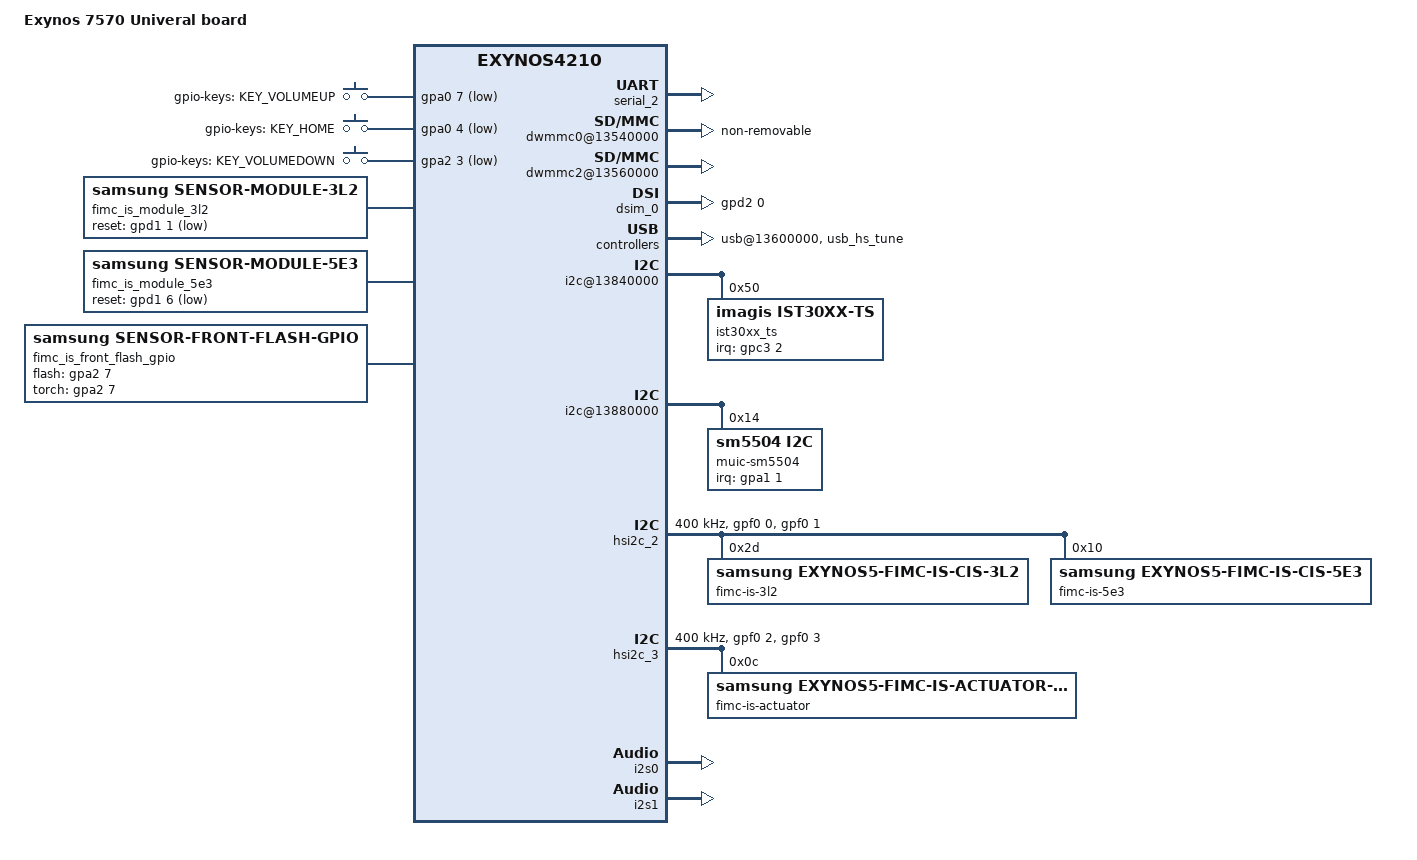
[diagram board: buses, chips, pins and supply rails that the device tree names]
/*
 * SAMSUNG UNIVERSAL7570 board device tree source
 *
 * Copyright (c) 2013 Samsung Electronics Co., Ltd.
 *		http://www.samsung.com
 *
 * This program is free software; you can redistribute it and/or modify
 * it under the terms of the GNU General Public License version 2 as
 * published by the Free Software Foundation.
*/

/dts-v1/;
#include "exynos7570-rmem.dtsi"
#include "exynos7570-rev01.dtsi"
#include "modem-ss305ap-pdata.dtsi"

/ {
	model = "Exynos 7570 Univeral board";
	compatible = "samsung,exynos7570", "samsung,exynos4210";

	memory@40000000 {
		device_type = "memory";
		reg = <0x0 0x40000000 0x60000000>;
	};

	chosen {
		bootargs = "console=ram clk_ignore_unused androidboot.hardware=samsungexynos7570 androidboot.selinux=permissive firmware_class.path=/vendor/firmware ess_setup=0x46000000 bcm_setup=0xffffff80f8e00000 androidboot.debug_level=0x4948 reserve-fimc=0";
		linux,initrd-start = <0x42000000>;
		linux,initrd-end = <0x421FFFFF>;
	};

	fixed-rate-clocks {
		oscclk {
			compatible = "samsung,exynos7570-oscclk";
			clock-frequency = <26000000>;
		};
	};

	serial_2: uart@13820000 {
		status = "okay";
	};

	firmware {
		android {
			compatible = "android,firmware";
			fstab {
				compatible = "android,fstab";
				system {
					compatible = "android,system";
					dev = "/dev/block/platform/13540000.dwmmc0/by-name/system";
					type = "ext4";
					mnt_flags = "ro";
					fsmgr_flags = "wait";
				};
				vendor {
					compatible = "android,vendor";
					dev = "/dev/block/platform/13540000.dwmmc0/by-name/vendor";
					type = "ext4";
					mnt_flags = "ro";
					fsmgr_flags = "wait";
				};
			};
		};
	};

	dwmmc0@13540000 {
		status = "okay";
		num-slots = <1>;
		broken-card-detect;
		use-smu;
		fixed_voltage;
		supports-highspeed;
		clock-gate;
		mmc-ddr-1_8v;
		mmc-hs200-1_8v;
		mmc-hs400-1_8v;
		supports-8bit;
		supports-cmd23;
		supports-erase;
		enable-ulp-mode;
		supports-hs400-enhanced-strobe;
		card-init-hwacg-ctrl;
		fifo-depth = <0x40>;
		non-removable;
		desc-size = <4>;
		card-detect-delay = <200>;
		data-timeout = <200>;
		hto-timeout = <550>;
		clock-frequency = <700000000>;
		samsung,dw-mshc-ciu-div = <3>;
		samsung,dw-mshc-txdt-crc-timer-fastlimit = <0x34>;
		samsung,dw-mshc-txdt-crc-timer-initval = <0x38>;
		samsung,dw-mshc-ddr200-delay-line = <0x60>;
		samsung,dw-mshc-sdr-timing = <3 0 2 0>;
		samsung,dw-mshc-ddr-timing = <3 0 4 2>;
		samsung,dw-mshc-hs200-timing = <3 0 3 0>;
		samsung,dw-mshc-ddr200-timing = <1 0 4 0>;
		samsung,dw-mshc-ddr200-ulp-timing = <3 0 3 0>;

		num-ref-clks = <12>;
		ciu_clkin = <25 43 43 25 43 87 175 43 43 175 175 175>;

		/* Swapping clock drive strength */
		clk-drive-number = <4>;
		pinctrl-names = "default",
			"fast-slew-rate-1x",
			"fast-slew-rate-2x",
			"fast-slew-rate-3x",
			"fast-slew-rate-4x";
		pinctrl-0 = <&sd0_clk &sd0_cmd &sd0_rdqs &sd0_bus1 &sd0_bus4 &sd0_bus8>;
		pinctrl-1 = <&sd0_clk_fast_slew_rate_1x>;
		pinctrl-2 = <&sd0_clk_fast_slew_rate_2x>;
		pinctrl-3 = <&sd0_clk_fast_slew_rate_3x>;
		pinctrl-4 = <&sd0_clk_fast_slew_rate_4x>;
		slot@0 {
			reg = <0>;
			bus-width = <8>;
		};
	};

	dwmmc2@13560000 {
		status = "okay";
		num-slots = <1>;
		clock-gate;
		supports-highspeed;
		supports-4bit;
		supports-cmd23;
		supports-erase;
		sd-uhs-sdr50;
		sd-uhs-sdr104;
		card-detect-gpio;
		bypass-smu;
		only_once_tune;
		bypass-for-allpass;
		use-fine-tuning;
		skip-init-mmc-scan;
		card-init-hwacg-ctrl;
		switch_transfer;
		ignore-phase = <(1 << 7)>;
		fifo-depth = <0x40>;
		desc-size = <4>;
		card-detect-delay = <200>;
		data-timeout = <200>;
		hto-timeout = <550>;
		clock-frequency = <700000000>;
		samsung,dw-mshc-ciu-div = <3>;
		samsung,dw-mshc-sdr-timing = <3 0 2 0>;
		samsung,dw-mshc-ddr-timing = <3 0 2 1>;
		samsung,dw-mshc-sdr50-timing = <3 0 4 2>;
		samsung,dw-mshc-sdr104-timing = <3 0 3 0>;

		num-ref-clks = <9>;
		ciu_clkin = <25 43 43 25 43 87 175 43 43>;

		clk-drive-number = <4>;
		pinctrl-names = "default",
			"fast-slew-rate-1x",
			"fast-slew-rate-2x",
			"fast-slew-rate-3x",
			"fast-slew-rate-4x";
		pinctrl-0 = <&sd2_clk &sd2_cmd &sd2_bus1 &sd2_bus4 &dwmmc2_cd_ext_irq>;
		pinctrl-1 = <&sd2_clk_fast_slew_rate_1x>;
		pinctrl-2 = <&sd2_clk_fast_slew_rate_2x>;
		pinctrl-3 = <&sd2_clk_fast_slew_rate_3x>;
		pinctrl-4 = <&sd2_clk_fast_slew_rate_4x>;

		card-detect = <&gpa0 1 0xf>;
		slot@0 {
			reg = <0>;
			bus-width = <4>;
			disable-wp;
		};
	};

	ion {
		compatible = "samsung,exynos5430-ion";
	};

	decon_fb@14830000 {
		psr_mode = <0>; /* 0: video mode, 1: DP command mode, 2: MIPI command mode */
		/* vclk_mif = 166MHz */
		mif-vclk = <166000000>;
		/* vclk =  83MHz */
		disp-vclk = <83000000>;
		/* aclk = 208MHz */
		disp-dvfs = <208000000>;
	};

	dsim_0: dsim@14800000 {
		lcd_info = <&s6e8aa5x01>;
		/*lcd reset */
		gpios = <&gpd2 0 0x1>;
		status = "okay";
	};

	s6e8aa5x01: s6e8aa5x01_hd {
		mode = <0>; /* 0: video mode, 1: DP command mode, 2: MIPI command mode */
		/* HD(720 x 1280) */
		panel_name = "s6e8aa5x01";
		resolution = <720 1280>;
		dispif_resol = <720 1280>;
		size = <71 114>;
		timing,refresh = <60>;
		/* dsim H porch : hbp, hfp, hsa */
		timing,dsim_h-porch = <109 48 1>;
		/* dsim V porch : VBP, VFP, VSA */
		timing,dsim_v-porch = <8 14 2>;
		/* decon H porch : hbp, hfp, hsa */
		timing,decon_h-porch = <1 339 1>;
		/* decon V porch : VBP, VFP, VSA */
		timing,decon_v-porch = <8 14 2>;
		timing,dsi-hs-clk = <498>;
		timing,pms = <3 230 2>;
		timing,dsi-escape-clk = <20>;
	};

	usb@13600000 {
		status = "okay";

		dwc3 {
			dr_mode = "otg";
		};
	};

	usbphy@135c0000 {
		status = "okay";
		hs_tune_info = <&usb_hs_tune>;
		ss_tune_info = <&usb_ss_tune>;
	};

	usb_hs_tune:hs_tune {
		status = "okay";
		/* value = <device host> */
		tx_vref = <0x3 0x3>;
		tx_pre_emp = <0x0 0x0>;
		tx_pre_emp_puls = <0x0 0x0>;
		tx_res	= <0x2 0x2>;
		tx_rise = <0x1 0x1>;
		tx_hsxv = <0x0 0x0>;
		tx_fsls = <0x3 0x3>;
		rx_sqrx = <0x5 0x5>;
		compdis	= <0x3 0x3>;
		otg= <0x2 0x2>;
		/* true : 1, false: 0 */
		/* <enable_user_imp user_imp_value> */
		enable_user_imp = <0 0>;
		/* PHY clk : 1 , FREE clk : 0 */
		is_phyclock = <1>;
	};

	usb_ss_tune:ss_tune {
		status = "disabled";
		/* value = <device host> */
		tx_boost_level = <0x4 0x4>;
		tx_swing_level = <0x1 0x1>;
		tx_swing_full = <0x7F 0x7F>;
		tx_swing_low = <0x7F 0x7F>;
		tx_deemphasis_mode = <0x1 0x1>;
		tx_deemphasis_3p5db = <0x18 0x18>;
		tx_deemphasis_6db = <0x18 0x18>;
		enable_ssc = <0x1 0x1>;
		ssc_range = <0x0 0x1>;
		los_bias = <0x5 0x5>;
		los_mask_val = <0x104 0x104>;
		enable_fixed_rxeq_mode = <0x0 0x0>;
		fix_rxeq_value = <0x4 0x4>;
		set_crport_mpll_charge_pump = <0x0 0x0>;
		set_crport_level_en = <0x0 0x0>;
	};

	usb_notifier {
		compatible = "samsung,usb-notifier";
		udc = <&udc>;
	};

	battery {
		battery,charger_name = "sec-charger";
		battery,fuelgauge_name = "sec-fuelgauge";
		battery,chg_eoc_dualpath = <1>;

		battery,input_current_limit = <1800 0 0 1000 460 900 1000 460 1000 0 820 1900 1000 0 0 400 700 1300 300 1000 1500 0 1667 1000 80 1800>;
		battery,fast_charging_current = <2100 0 0 1800 460 1200 1000 460 1200 0 1000 1600 1000 0 0 400 700 1300 300 1000 1500 0 3150 1000 80 1800>;
		battery,full_check_current_1st = <350 0 0 250 250 250 250 250 250 0 250 250 250 0 0 350 350 350 350 350 350 0 350 350 0 350>;
		battery,full_check_current_2nd = <3000 0 0 3000 3000 3000 3000 3000 3000 0 3000 3000 0 0 0 3000 3000 3000 3000 3000 3000 0 3000 3000 3000 3000>;
		battery,input_current_limit_new = <1800 0 0 1000 460 900 1000 460 1000 0 820 1900 1000 0 0 400 700 1300 300 1000 1500 0 1667 1000 80 1800>;
		battery,fast_charging_current_new = <2100 0 0 1700 460 1200 1000 460 1200 0 1000 1600 1000 0 0 400 700 1300 300 1000 1500 0 3150 1000 80 1800>;
		battery,recharge_condition_vcell = <4250>;
	};

	s2mpu06-charger {
		battery,chg_float_voltage = <4340>;
	};

	s2mpu06-fuelgauge {
		fuelgauge,fuel_alert_soc = <1>;
		fuelgauge,capacity_max = <1000>;
		fuelgauge,capacity_max_margin = <70>;
		fuelgauge,capacity_min = <0>;
		fuelgauge,capacity_calculation_type = <28>;
		fuelgauge,type_str = "SDI";
		fuelgauge,model_type = <1>;
	};

	tmuctrl_0: tmuctrl_CPUCL0@10130000 {
		compatible = "samsung,exynos7570-tmu";
		reg = <0x0 0x10130000 0x200>;
		interrupts = <0 435 0>;
		default_ptat_cont = <0x1>;
	};

	tmuctrl_1: tmuctrl_G3D@10130000 {
		compatible = "samsung,exynos7570-tmu";
		reg = <0x0 0x10130000 0x200>;
		interrupts = <0 435 0>;
		default_ptat_cont = <0x1>;

		/* gpu cooling related table */
		gpu_idx_num = <5>;
		/* flags, driver_data(index), frequency */
		gpu_cooling_table = < 0 0 830000
				      0 1 666000
				      0 2 553000
				      0 3 415000
				      0 4 TABLE_END>;
	};

	pinctrl@139F0000 {
		key_volup: key-volup {
			samsung,pins = "gpa0-7";
			samsung,pin-function = <0xf>;
			samsung,pin-pud = <3>;
			samsung,pin-drv = <0>;
		};

		key_voldown: key-voldown {
			samsung,pins = "gpa2-3";
			samsung,pin-function = <0xf>;
			samsung,pin-pud = <0>;
			samsung,pin-drv = <0>;
		};

		key_home: key-home {
			samsung,pins = "gpa0-4";
			samsung,pin-function = <0xf>;
			samsung,pin-pud = <0>;
			samsung,pin-drv = <0>;
		};

		if_irq: if-irq {
			samsung,pins = "gpa0-5";
			samsung,pin-pud = <3>;
			samsung,pin-drv = <3>;
		};

		muic_irq: muic-irq {
			samsung,pins = "gpa1-1";
			samsung,pin-pud = <3>;
			samsung,pin-drv = <0>;
		};
	};

	gpio_keys {
		compatible = "gpio-keys";
		pinctrl-names = "default";
		pinctrl-0 = <&key_voldown &key_volup &key_home>;
		#address-cells = <1>;
		#size-cells = <0>;

		button@1 {
			label = "gpio-keys: KEY_VOLUMEUP";
			interrupts = <7 0 0>;
			interrupt-parent = <&gpa0>;
			linux,code = <115>;
			gpios = <&gpa0 7 0xf>;
		};
		button@2 {
			label = "gpio-keys: KEY_HOME";
			interrupts = <4 0 0>;
			interrupt-parent = <&gpa0>;
			linux,code = <172>;
			gpios = <&gpa0 4 0xf>;
			gpio-key,wakeup = <1>;
		};
		button@3 {
			label = "gpio-keys: KEY_VOLUMEDOWN";
			interrupts = <3 0 0>;
			interrupt-parent = <&gpa2>;
			linux,code = <114>;
			gpios = <&gpa2 3 0xf>;
		};
	};

	pinctrl@139D0000 {
		attn_irq: attn-irq {
			samsung,pins = "gpc3-2";
			samsung,pin-function = <0xf>;
			samsung,pin-pud = <0>;
			samsung,pin-drv = <0>;
		};
		attn_input: attn-input {
			samsung,pins = "gpc3-2";
			samsung,pin-function = <0>;
			samsung,pin-pud = <1>;
			samsung,pin-drv = <0>;
		};
	};

	i2c@13840000 {
		status = "okay";
		#address-cells = <1>;
		#size-cells = <0>;

		ist30xx_ts@50 {
			compatible = "imagis,ist30xx-ts";
			reg = <0x50>;
			pinctrl-names = "active_state", "suspend_state";
			pinctrl-0 = <&attn_irq>;
			pinctrl-1 = <&attn_input>;

			vdd_ldo_name = "vdd_ldo19";
			imagis,irq-gpio = <&gpc3 2 0>;
			imagis,ic-version = "ist3038c";
			imagis,project-name = "java";
		};
	};

	i2c@13880000 {
		status = "okay";

		muic-sm5504@14 {
			compatible = "sm5504,i2c";
			reg = <0x14>;
			pinctrl-names = "default";
			pinctrl-0 = <&muic_irq>;
			sm5504,irq-gpio = <&gpa1 1 0>;
		};
	};

	fimc_is@14400000 {
		rear_sensor_id = <8>; /* 3L2  */
		front_sensor_id = <17>; /* 5E3 */
		use_module_check;
		skip_cal_loading;

		fimc_is_dvfs {
			#define DVFS_INT_L0 467000
			#define DVFS_INT_L1 415000

			#define DVFS_CAM_L0 666000
			#define DVFS_CAM_L1 554000
			#define DVFS_CAM_L2 444000

			#define DVFS_MIF_L0 830000
			#define DVFS_MIF_L1 700000
			#define DVFS_MIF_L2 666000
			#define DVFS_MIF_L3 415000

			table0 {
				desc = "HAL1 version";

				default_int = <DVFS_INT_L0>;
				default_cam = <DVFS_CAM_L1>;
				default_mif = <DVFS_MIF_L0>;
				default_i2c = <0>;

				front_preview_int = <DVFS_INT_L0>;
				front_preview_cam = <DVFS_CAM_L2>;
				front_preview_mif = <DVFS_MIF_L0>;
				front_preview_i2c = <0>;

				front_capture_int = <DVFS_INT_L0>;
				front_capture_cam = <DVFS_CAM_L2>;
				front_capture_mif = <DVFS_MIF_L0>;
				front_capture_i2c = <0>;

				front_video_int = <DVFS_INT_L0>;
				front_video_cam = <DVFS_CAM_L2>;
				front_video_mif = <DVFS_MIF_L0>;
				front_video_i2c = <0>;

				front_video_capture_int = <DVFS_INT_L0>;
				front_video_capture_cam = <DVFS_CAM_L2>;
				front_video_capture_mif = <DVFS_MIF_L0>;
				front_video_capture_i2c = <0>;

				front_vt1_int = <DVFS_INT_L0>;
				front_vt1_cam = <DVFS_CAM_L2>;
				front_vt1_mif = <DVFS_MIF_L0>;
				front_vt1_i2c = <0>;

				front_vt2_int = <DVFS_INT_L0>;
				front_vt2_cam = <DVFS_CAM_L2>;
				front_vt2_mif = <DVFS_MIF_L0>;
				front_vt2_i2c = <0>;

				rear_preview_int = <DVFS_INT_L0>;
				rear_preview_cam = <DVFS_CAM_L1>;
				rear_preview_mif = <DVFS_MIF_L0>;
				rear_preview_i2c = <0>;

				rear_capture_int = <DVFS_INT_L0>;
				rear_capture_cam = <DVFS_CAM_L1>;
				rear_capture_mif = <DVFS_MIF_L0>;
				rear_capture_i2c = <0>;

				rear_video_int = <DVFS_INT_L0>;
				rear_video_cam = <DVFS_CAM_L1>;
				rear_video_mif = <DVFS_MIF_L0>;
				rear_video_i2c = <0>;

				rear_video_capture_int = <DVFS_INT_L0>;
				rear_video_capture_cam = <DVFS_CAM_L1>;
				rear_video_capture_mif = <DVFS_MIF_L0>;
				rear_video_capture_i2c = <0>;

				preview_high_speed_fps_int = <DVFS_INT_L0>;
				preview_high_speed_fps_cam = <DVFS_CAM_L1>;
				preview_high_speed_fps_mif = <DVFS_MIF_L0>;
				preview_high_speed_fps_i2c = <0>;

				video_high_speed_60fps_int = <DVFS_INT_L0>;
				video_high_speed_60fps_cam = <DVFS_CAM_L1>;
				video_high_speed_60fps_mif = <DVFS_MIF_L0>;
				video_high_speed_60fps_i2c = <0>;

				video_high_speed_120fps_int = <DVFS_INT_L0>;
				video_high_speed_120fps_cam = <DVFS_CAM_L1>;
				video_high_speed_120fps_mif = <DVFS_MIF_L0>;
				video_high_speed_120fps_i2c = <0>;

				max_int = <DVFS_INT_L0>;
				max_cam = <DVFS_CAM_L0>;
				max_mif = <DVFS_MIF_L0>;
				max_i2c = <0>;
			};

			table1 {
				desc = "HAL3 version";

				default_int = <DVFS_INT_L0>;
				default_cam = <DVFS_CAM_L1>;
				default_mif = <DVFS_MIF_L0>;
				default_i2c = <0>;

				front_preview_int = <DVFS_INT_L0>;
				front_preview_cam = <DVFS_CAM_L2>;
				front_preview_mif = <DVFS_MIF_L0>;
				front_preview_i2c = <0>;

				front_capture_int = <DVFS_INT_L0>;
				front_capture_cam = <DVFS_CAM_L2>;
				front_capture_mif = <DVFS_MIF_L0>;
				front_capture_i2c = <0>;

				front_video_int = <DVFS_INT_L0>;
				front_video_cam = <DVFS_CAM_L2>;
				front_video_mif = <DVFS_MIF_L0>;
				front_video_i2c = <0>;

				front_video_capture_int = <DVFS_INT_L0>;
				front_video_capture_cam = <DVFS_CAM_L2>;
				front_video_capture_mif = <DVFS_MIF_L0>;
				front_video_capture_i2c = <0>;

				front_vt1_int = <DVFS_INT_L0>;
				front_vt1_cam = <DVFS_CAM_L2>;
				front_vt1_mif = <DVFS_MIF_L0>;
				front_vt1_i2c = <0>;

				front_vt2_int = <DVFS_INT_L0>;
				front_vt2_cam = <DVFS_CAM_L2>;
				front_vt2_mif = <DVFS_MIF_L0>;
				front_vt2_i2c = <0>;

				rear_preview_int = <DVFS_INT_L0>;
				rear_preview_cam = <DVFS_CAM_L1>;
				rear_preview_mif = <DVFS_MIF_L0>;
				rear_preview_i2c = <0>;

				rear_capture_int = <DVFS_INT_L0>;
				rear_capture_cam = <DVFS_CAM_L1>;
				rear_capture_mif = <DVFS_MIF_L0>;
				rear_capture_i2c = <0>;

				rear_video_int = <DVFS_INT_L0>;
				rear_video_cam = <DVFS_CAM_L1>;
				rear_video_mif = <DVFS_MIF_L0>;
				rear_video_i2c = <0>;

				rear_video_capture_int = <DVFS_INT_L0>;
				rear_video_capture_cam = <DVFS_CAM_L1>;
				rear_video_capture_mif = <DVFS_MIF_L0>;
				rear_video_capture_i2c = <0>;

				preview_high_speed_fps_int = <DVFS_INT_L0>;
				preview_high_speed_fps_cam = <DVFS_CAM_L2>;
				preview_high_speed_fps_mif = <DVFS_MIF_L0>;
				preview_high_speed_fps_i2c = <0>;

				video_high_speed_60fps_int = <DVFS_INT_L0>;
				video_high_speed_60fps_cam = <DVFS_CAM_L2>;
				video_high_speed_60fps_mif = <DVFS_MIF_L0>;
				video_high_speed_60fps_i2c = <0>;

				video_high_speed_120fps_int = <DVFS_INT_L0>;
				video_high_speed_120fps_cam = <DVFS_CAM_L2>;
				video_high_speed_120fps_mif = <DVFS_MIF_L0>;
				video_high_speed_120fps_i2c = <0>;

				max_int = <DVFS_INT_L0>;
				max_cam = <DVFS_CAM_L0>;
				max_mif = <DVFS_MIF_L0>;
				max_i2c = <0>;
			};
		};
	};

	fimc_is_module_3l2: fimc-is_sensor_3l2@2D {
		compatible = "samsung,sensor-module-3l2";

		pinctrl-names = "pin0", "pin1", "pin2";
		pinctrl-0 = <>;
		pinctrl-1 = <&fimc_is_mclk0_in &fimc_is_flash>;
		pinctrl-2 = <&fimc_is_mclk0_fn &fimc_is_flash>;

		position = <0>; /* Rear:0. Front:1 */
		id = <0>; /* sensor node id */
		mclk_ch = <0>;
		sensor_i2c_ch = <0>; /* I2C 0 */
		sensor_i2c_addr = <0x2D>;

		gpio_reset = <&gpd1 1 0x1>; /* sensor reset */
		status = "okay";

		af {
			product_name = <13>; /* DW9807 */
			i2c_addr = <0x0C>;
			i2c_ch = <1>; /* I2C 0 */
		};

		/* TODO : need to update */
		flash {
			product_name = <13>; /* FLASH_I2C */
			flash_first_gpio = <2>;
			flash_second_gpio = <1>;
		};
	};

	fimc_is_module_5e3: fimc-is_sensor_5e3@10 {
		compatible = "samsung,sensor-module-5e3";

		pinctrl-names = "pin0", "pin1", "pin2";
		pinctrl-0 = <>;
		pinctrl-1 = <&fimc_is_mclk0_in>;
		pinctrl-2 = <&fimc_is_mclk0_fn>;

		position = <1>; /* Rear:0. Front:1 */
		id = <1>; /* sensor node id */
		mclk_ch = <0>;
		sensor_i2c_ch = <0>;
		sensor_i2c_addr = <0x10>;

		gpio_reset = <&gpd1 6 0x1>;
		status = "okay";

		/* TODO : need to update */
		flash {
			product_name = <11>; /* FLASH_GPIO */
			flash_first_gpio = <2>;
			flash_second_gpio = <1>;
		};
	};

	fimc_is_front_flash_gpio: fimc-is-front-flash_gpio@1 {
		compatible = "samsung,sensor-front-flash-gpio";
		id = <1>; /* Front */
		status = "okay";

		flash-gpio = <&gpa2 7 0>;
		torch-gpio = <&gpa2 7 0>;
	};

	hsi2c_2: hsi2c@138A0000 {
		 gpios = <&gpf0 0 0 &gpf0 1 0>;
		 status = "okay";
		 clock-frequency = <400000>;

		 pinctrl-names = "default";
		 pinctrl-0 = <&hs_i2c2_bus>;

		 fimc-is-3l2@5A {
			 compatible = "samsung,exynos5-fimc-is-cis-3l2";
			 reg = <0x2D>; /* 1 bit right shift */
			 id = <0>; /* matching sensor id */
			 setfile = "default";
		 };

		fimc-is-5e3@20 {
		        compatible = "samsung,exynos5-fimc-is-cis-5e3";
		        reg = <0x10>; /* 1 bit right shift */
		        id = <1>; /* matching sensor id */
		        setfile = "default";
		};
	};

	hsi2c_3: hsi2c@138C0000 {
		gpios = <&gpf0 2 0 &gpf0 3 0>;
		status = "okay";
		clock-frequency = <400000>;

		pinctrl-names = "default";
		pinctrl-0 = <&hs_i2c3_bus>;

		fimc-is-actuator@0C {
			 compatible = "samsung,exynos5-fimc-is-actuator-dw9807";
			 reg = <0x0C>;
			 id = <0>; /* matching sensor id */
		};
	};

	#define SENSOR_SCENARIO_NORMAL      0
	#define SENSOR_SCENARIO_VISION      1
	#define SENSOR_SCENARIO_EXTERNAL    2
	#define SENSOR_SCENARIO_OIS_FACTORY 3
	#define SENSOR_SCENARIO_VIRTUAL     9
	#define FLITE_ID_NOTHING 100

	fimc_is_sensor0: fimc_is_sensor0@14420000 {
		scenario = <SENSOR_SCENARIO_NORMAL>;    /* Normal, Vision, OIS etc */
		id = <0>;
		csi_ch = <0>;
		flite_ch = <0>;
		is_bns = <1>;
		status = "okay";
	};

	fimc_is_sensor1: fimc_is_sensor1@14420000 {
		scenario = <SENSOR_SCENARIO_NORMAL>;    /* Normal, Vision, OIS etc */
		id = <1>;
		csi_ch = <0>;
		flite_ch = <0>;
		is_bns = <1>;
		status = "okay";
	};

	but_zones: but_zones {
		#list-but-cells = <3>;
	};
	speedy@10510000 {
		status = "okay";

		audio_codec_cod9002x: cod9002x@03 {
			compatible = "codec,cod9002x";
			reg = <0x03>;
			i2c-speedy-address;
		        vdd-supply = <&ldo13_reg>;
			pinctrl-names = "default";
			/*pinctrl-0 = <&cod9002_irq>;
			interrupt-parent = <&gpa0>;
			gpios = <&gpa0 3 0xf>;*/
			mic-bias1-voltage = <3>;
			mic-bias2-voltage = <3>;
			mic-bias-ldo-voltage = <3>;
			use-btn-adc-mode;
			io-channels = <&exynos_adc 2>;
			io-channel-names = "adc-jack";
			#io-channel-cells = <1>;
			io-channel-ranges;
			but-zones-list = <&but_zones 226 0 203>,
					<&but_zones 582 204 290>,
					<&but_zones 115 291 488>,
					<&but_zones 114 489 1000>;
		};

		s2mpu06mfd@00 {
			compatible = "samsung,s2mpu06mfd";
			reg = <0x00>;
			pinctrl-names = "default";
			pinctrl-0 = <&if_irq>;
			s2mpu06,wakeup = "enabled";
			s2mpu06,irq-gpio = <&gpa0 5 0>;

			i2c-speedy-address;
			cache_data = <1>;

			/* RTC: wtsr/smpl */
			wtsr_en = "enabled"; /* enable */
			smpl_en = "enabled"; /* enable */
			wtsr_timer_val = <3>;   /* 1000ms */
			smpl_timer_val = <4>;   /* 500ms */
			check_jigon = <0>; /* do not check jigon */
			/* RTC: If it's first boot, reset rtc to 1/1/2015 12:00:00(Wed) */
			init_time,sec = <0>;
			init_time,min = <0>;
			init_time,hour = <0>;
			init_time,mday = <1>;
			init_time,mon = <0>;
			init_time,year = <116>;
			init_time,wday = <5>;

			samsung,codec-interrupt = <&audio_codec_cod9002x>;
			s2mpu06-keys {
				button@1 {
					label = "pmic-keys: KEY_POWER";
					linux,code = <116>;
					wakeup = <1>;
				};
			};

			regulators {
				buck1_reg: BUCK1 {
					regulator-name = "BUCK1";
					regulator-min-microvolt = <500000>;
					regulator-max-microvolt = <1300000>;
					regulator-always-on;
					regulator-boot-on;
					regulator-ramp-delay = <12000>;
					regulator-initial-mode = <3>;
					regulator-expected-consumer = <6>;
				};

				buck2_reg: BUCK2 {
					regulator-name = "BUCK2";
					regulator-min-microvolt = <800000>;
					regulator-max-microvolt = <2800000>;
					regulator-always-on;
					regulator-boot-on;
					regulator-ramp-delay = <12000>;
					regulator-initial-mode = <3>;
				};

				buck3_reg: BUCK3 {
					regulator-name = "BUCK3";
					regulator-min-microvolt = <800000>;
					regulator-max-microvolt = <2800000>;
					regulator-always-on;
					regulator-boot-on;
					regulator-ramp-delay = <12000>;
					regulator-initial-mode = <3>;
				};

				ldo1_reg: LDO1 {
					regulator-name = "vdd_ldo1";
					regulator-min-microvolt = <500000>;
					regulator-max-microvolt = <1300000>;
					regulator-always-on;
					regulator-boot-on;
					regulator-ramp-delay = <12000>;
					regulator-initial-mode = <1>;
				};

				ldo2_reg: LDO2 {
					regulator-name = "vdd_ldo2";
					regulator-min-microvolt = <1500000>;
					regulator-max-microvolt = <2000000>;
					regulator-boot-on;
					regulator-always-on;
					regulator-ramp-delay = <12000>;
					regulator-initial-mode = <3>;
				};

				ldo3_reg: LDO3 {
					regulator-name = "vdd_ldo3";
					regulator-min-microvolt = <800000>;
					regulator-max-microvolt = <1500000>;
					regulator-boot-on;
					regulator-always-on;
					regulator-ramp-delay = <12000>;
					regulator-initial-mode = <3>;
				};

				ldo4_reg: LDO4 {
					regulator-name = "vqmmc";
					regulator-min-microvolt = <1700000>;
					regulator-max-microvolt = <3350000>;
					regulator-ramp-delay = <12000>;
					regulator-initial-mode = <0>;
				};

				ldo5_reg: LDO5 {
					regulator-name = "vdd_ldo5";
					regulator-min-microvolt = <1700000>;
					regulator-max-microvolt = <3350000>;
					regulator-boot-on;
					regulator-always-on;
					regulator-ramp-delay = <12000>;
					regulator-initial-mode = <3>;
				};

				ldo6_reg: LDO6 {
					regulator-name = "vdd_ldo6";
					regulator-min-microvolt = <500000>;
					regulator-max-microvolt = <1300000>;
					regulator-boot-on;
					regulator-always-on;
					regulator-ramp-delay = <12000>;
					regulator-initial-mode = <3>;
				};

				ldo7_reg: LDO7 {
					regulator-name = "vdd_ldo7";
					regulator-min-microvolt = <800000>;
					regulator-max-microvolt = <1300000>;
					regulator-boot-on;
					regulator-always-on;
					regulator-ramp-delay = <12000>;
					regulator-initial-mode = <1>;
				};

				ldo8_reg: LDO8 {
					regulator-name = "vdd_ldo8";
					regulator-min-microvolt = <1800000>;
					regulator-max-microvolt = <3375000>;
					regulator-boot-on;
					regulator-always-on;
					regulator-ramp-delay = <12000>;
					regulator-initial-mode = <1>;
				};

				ldo13_reg: LDO13 {
					regulator-name = "vdd_ldo13";
					regulator-min-microvolt = <800000>;
					regulator-max-microvolt = <2000000>;
					regulator-ramp-delay = <12000>;
					regulator-boot-on;
					regulator-always-on;
					regulator-initial-mode = <3>;
				};

				ldo14_reg: LDO14 {
					regulator-name = "vemmc";
					regulator-min-microvolt = <1800000>;
					regulator-max-microvolt = <3375000>;
					regulator-ramp-delay = <12000>;
					regulator-initial-mode = <0>;
				};

				ldo15_reg: LDO15 {
					regulator-name = "vqemmc";
					regulator-min-microvolt = <800000>;
					regulator-max-microvolt = <2000000>;
					regulator-ramp-delay = <12000>;
					regulator-initial-mode = <0>;
				};

				ldo16_reg: LDO16 {
					regulator-name = "vmmc";
					regulator-min-microvolt = <1800000>;
					regulator-max-microvolt = <3375000>;
					regulator-ramp-delay = <12000>;
					regulator-initial-mode = <0>;
				};

				ldo17_reg: LDO17 {
					regulator-name = "VDD18_CAM_SENSOR_IO";
					regulator-min-microvolt = <1800000>;
					regulator-max-microvolt = <1800000>;
					regulator-ramp-delay = <12000>;
					regulator-initial-mode = <0>;
				};

				ldo18_reg: LDO18 {
					regulator-name = "VDD28_CAM_AF";
					regulator-min-microvolt = <2800000>;
					regulator-max-microvolt = <2800000>;
					regulator-ramp-delay = <12000>;
					regulator-initial-mode = <0>;
				};

				ldo19_reg: LDO19 {
					regulator-name = "vdd_ldo19";
					regulator-min-microvolt = <1800000>;
					regulator-max-microvolt = <3375000>;
					regulator-ramp-delay = <12000>;
					regulator-initial-mode = <0>;
				};

				ldo20_reg: LDO20 {
					regulator-name = "vdd_ldo20";
					regulator-min-microvolt = <800000>;
					regulator-max-microvolt = <2000000>;
					regulator-always-on;
					regulator-ramp-delay = <12000>;
					regulator-initial-mode = <3>;
				};

				ldo21_reg: LDO21 {
					regulator-name = "vdd_ldo21";
					regulator-min-microvolt = <1800000>;
					regulator-max-microvolt = <3375000>;
					regulator-ramp-delay = <12000>;
					regulator-initial-mode = <0>;
				};

				ldo22_reg: LDO22 {
					regulator-name = "vdd_ldo22";
					regulator-min-microvolt = <1800000>;
					regulator-max-microvolt = <3375000>;
					regulator-always-on;
					regulator-ramp-delay = <12000>;
					regulator-initial-mode = <3>;
				};

				ldo23_reg: LDO23 {
					regulator-name = "VDD23_CAM_CORE_1P2";
					regulator-min-microvolt = <1200000>;
					regulator-max-microvolt = <1200000>;
					regulator-ramp-delay = <12000>;
					regulator-initial-mode = <0>;
				};

				ldo24_reg: LDO24 {
					regulator-name = "AVDD24_CAM_2P8";
					regulator-min-microvolt = <2800000>;
					regulator-max-microvolt = <2800000>;
					regulator-ramp-delay = <12000>;
					regulator-initial-mode = <0>;
				};
			};
		};

		fimc_is_flash@06 {
			compatible = "samsung,sensor-flash-i2c";
			reg = <0x06>;
			id = <0>;
			flash-gpio = <&gpa0 0 0>;
			i2c-speedy-address;
		};
	};

	/* modem_interface */
	mif_pdata {
		reg = <0 0x10000 0x0>;

		pinctrl-names = "default";
		pinctrl-0 = <&cp_gpio_iot>;

		mif,ap_clk_table = <
			/* khz */
			962000
			>;

		mif,mif_clk_table = <
			/* khz */
			830000
			700000
			666000
			415000
			>;
		mif,int_clk_table = <
			/* khz */
			467000
			415000
			>;
	};

	exynos_rgt {
		compatible = "samsung,exynos-rgt";
	};

	exynos-pm {
		compatible = "samsung,exynos-pm";
		reg = <0x0 0x139F0000 0x1000>,
		      <0x0 0x104E1200 0x100>;
		reg-names = "gpio_alive_base",
			    "gicd_ispendrn_base";
		num-eint = <24>;
		num-gic = <16>;
		suspend_mode_idx = <7>;		/* SYS_DSTOP */
		suspend_psci_idx = <131>;	/* PSCI_SYSTEM_SLEEP */
		cp_call_mode_idx = <4>;		/* SYS_LPD */
		cp_call_psci_idx = <132>;	/* PSCI_SYSTEM_CP_CALL */
	};

	exynos-powermode {
		compatible = "exynos,powermode";

		/*	        sicd		sicd_cpd	aftr		stop
		 *		lpd		lpa		alpa		dstop
		 *		sleep
		 */
		wakeup_mask =  <0x400F91E1>,	<0x0>,		<0x0>,		<0x0>,
			       <0x0>,		<0x0>,		<0x0>,		<0x0>,
			       <0x400FFFFE>;
		wakeup_mask2 = <0x0>,		<0x0>,		<0x0>,		<0x0>,
			       <0x0>,		<0x0>,		<0x0>,		<0x0>,
			       <0xFFFF00FF>;
		wakeup_mask3 = <0x0>,		<0x0>,		<0x0>,		<0x0>,
			       <0x0>,		<0x0>,		<0x0>,		<0x0>,
			       <0xFFFF00FF>;

		cpd_residency = <3000>;
		sicd_residency = <3000>;

		sicd_enabled = <0>;

		idle-ip = "136c0000.pwm",		/* idle ip index : 0 */
			  "10550000.adc",		/* idle ip index : 1 */

			  "10510000.hsi2c",		/* idle ip index : 2 */
			  "13950000.hsi2c",		/* idle ip index : 3 */
			  "13960000.hsi2c",		/* idle ip index : 4 */
			  "138a0000.hsi2c",		/* idle ip index : 5 */
			  "138b0000.hsi2c",		/* idle ip index : 6 */
			  "138c0000.hsi2c",		/* idle ip index : 7 */
			  "138f0000.hsi2c",		/* idle ip index : 8 */

			  "13870000.i2c",		/* idle ip index : 9 */
			  "13880000.i2c",		/* idle ip index : 10 */
			  "13890000.i2c",		/* idle ip index : 11 */
			  "13840000.i2c",		/* idle ip index : 12 */
			  "13830000.i2c",		/* idle ip index : 13 */
			  "138d0000.i2c",		/* idle ip index : 14 */
			  "138e0000.i2c",		/* idle ip index : 15 */
			  "13850000.i2c",		/* idle ip index : 16 */
			  "13860000.i2c",		/* idle ip index : 17 */

			  "13540000.dwmmc0",		/* idle ip index : 18 */
			  "13560000.dwmmc2",		/* idle ip index : 19 */

			  "13600000.usb",		/* idle ip index : 20 */

			  "100c0000.spi",		/* idle ip index : 21 */
			  "13900000.spi",		/* idle ip index : 22 */
			  "13910000.spi",		/* idle ip index : 23 */
			  "13920000.spi",		/* idle ip index : 24 */
			  "13930000.spi",		/* idle ip index : 25 */

			  "10500000.mailbox-cp",	/* idle ip index : 26 */
			  "10570000.mailbox-gnss",	/* idle ip index : 27 */

			  "14830000.decon_fb",		/* idle ip index : 28 */
			  "pd-g3d",			/* idle ip index : 29 */
			  "pd-isp",			/* idle ip index : 30 */
			  "pd-mfcmscl",			/* idle ip index : 31 */
			  "148f0000.lpass";             /* idle ip index : 32 */
		idle_ip_mask {
			sicd: SYS_SICD {
				mode-index = <0>;
				ref-idle-ip = <0>,  <1>,  <2>,  <3>,  <4>,  <5>,  <6>,  <7>,  <8>,  <9>,
					     <10>, <11>, <12>, <13>, <14>, <15>, <16>, <17>, <18>, <19>,
					     <20>, <21>, <22>, <23>, <24>, <25>, <26>, <27>, <28>, <29>,
					     <30>, <31>, <32>;
			};
		};
	};

	acpm: acpm@11C88000 {
		compatible = "samsung,exynos-acpm";
		#address-cells = <2>;
		#size-cells = <1>;
		reg = <0x0 0x11C88000 0x1000>;

		log_base = <0x02047700>;
		time_len = <32>;
		log_buff_size = <16>;
		log_buff_len = <380>;
		debug_logging_level = <0>;
		logging_period = <500>;

		dump_base = <0x02046000>;
		dump_size = <0x3800>;

		plugins {
			framework {
				attach = <2>;
				id = <0>;
				acpm-ipc-channel = <&framework_ch>;
			};
		};
	};

	acpm_ipc: acpm_ipc@11C00000 {
		compatible = "samsung,exynos-acpm-ipc";
		#address-cells = <2>;
		#size-cells = <1>;

		interrupts = <0 22 0>;
		reg = <0x0 0x11C00000 0x1000>;

		channels {
			polling = <1>;
			max_buff_size = <0x300>;
			framework_ch: framework@0x02047400 {
				channel_id = <0>;
				rx_buff = <0x02047400>;
				tx_buff = <0x02047480>;
				buff_size = <12>;
				buff_len = <8>;
				direction_buff = <412>;
			};
		};
	};

      s1403x: s1403x@14880000 {
		pinctrl-names = "default", "idle";
		pinctrl-0 = <&i2s_pmic_bus
				&i2s_amp_bus
				&i2s_codec_clk>;
		pinctrl-1 = <&i2s_pmic_bus_idle
				&i2s_amp_bus_idle> ;
		bck-mcko-mode;
		status = "okay";
	};

	i2s_dummy: dummy-i2s {
		compatible = "samsung,dummy-i2s";
		status = "okay";
	};

	i2s0: i2s@148A0000 {
		status = "okay";
	};

	i2s1: i2s@148B0000 {
		status = "okay";
	};

	audio_cp_dummy: cp_dummy {
			compatible = "samsung,cp_dummy";
			status = "okay";
	};

	audio_fm_dummy: fm_dummy {
			compatible = "samsung,fm_dummy";
			status = "okay";
	};

	audio_bt_dummy: bt_dummy {
			compatible = "samsung,bt_dummy";
			status = "okay";
	};

	audio_codec_dummy: dummy-codec {
			compatible = "samsung,dummy-codec";
			status = "okay";
	};

	sound {
		compatible = "samsung,universal7570-cod9002x";
		samsung,audio-cpu = <&i2s0	/* primary */
			&i2s0			 /* secondary */
			&audio_cp_dummy
			&audio_bt_dummy
			&audio_fm_dummy
			&i2s1			/*AMP for AP */
			&audio_cp_dummy
			&eax
			&eax
			&eax
			&eax>;	/*AMP for CP */
		samsung,audio-codec = <&audio_codec_cod9002x
			&audio_codec_cod9002x
			&audio_codec_cod9002x
			&audio_codec_dummy
			&audio_codec_cod9002x
			&audio_codec_dummy
			&audio_codec_dummy
			&audio_codec_cod9002x
			&audio_codec_cod9002x
			&audio_codec_cod9002x
			&audio_codec_cod9002x>;

		samsung,auxdev = <&s1403x>;
		status = "okay";
		mic-bias-mode = <1 1 2 0>;
	};
};
